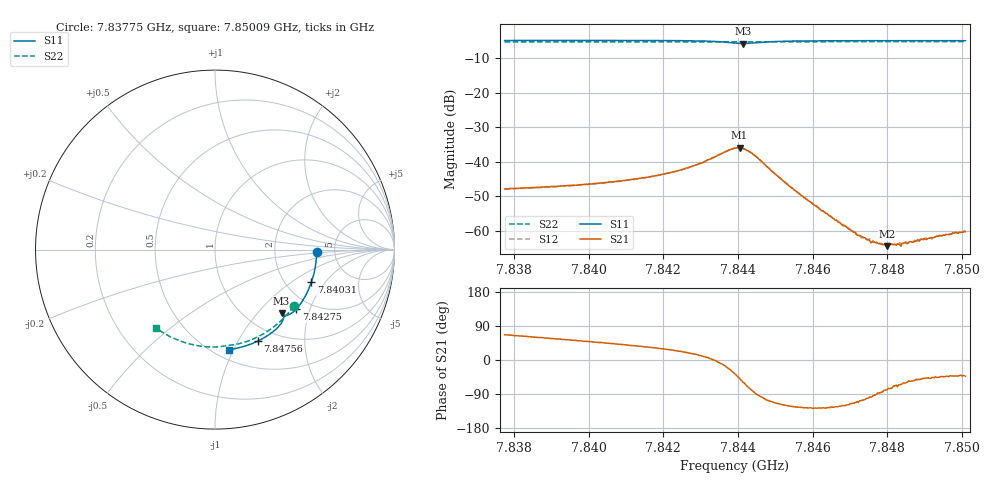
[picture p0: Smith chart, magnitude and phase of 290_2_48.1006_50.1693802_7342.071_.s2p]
#  HZ  S  RI  R  50.00
! Rohde & Schwarz Vector Network Analyzer
! Rohde-Schwarz,ZNB20-2Port,1311601062101988,3.16
! Created: UTC 12/23/2023, 4:03:40 AM
! freq[Hz]  re:S11  im:S11  re:S21  im:S21  re:S12  im:S12  re:S22  im:S22
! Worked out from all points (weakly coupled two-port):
!   401 points, 7.83775 GHz to 7.85009 GHz, reference 50 ohm
!   highest |S21| = -35.98 dB at 7.84404 GHz (marker M1); lowest = -64.5 dB at 7.84799 GHz (marker M2)
!   lowest |S11| = -5.8 dB at 7.84414 GHz (marker M3), VSWR 3.10, Z = 70.9 - j67.9 ohm
!   |S11| at or under -10 dB: nowhere
!   |S22| runs from -5.4 to -5.3 dB; largest |S21 - S12| = 0.00029
!   S11 on the Smith chart (normalised r, x): 7.83775 GHz: 3.61, -0.15; 7.84031 GHz: 2.74, -1.47; 7.84275 GHz: 1.68, -1.62; 7.84756 GHz: 0.81, -1.21; 7.85009 GHz: 0.59, -0.96
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7.837749e9  0.5663 -0.0138  0.00158 0.00369  0.00159 0.00362  0.4392 -0.314
7.839816e9  0.5467 -0.1502  0.00297 0.00355  0.00294 0.00351  0.3405 -0.4197
7.840309e9  0.5369 -0.1818  0.0034 0.00353  0.00334 0.0035  0.3132 -0.4408
7.841204e9  0.5137 -0.2385  0.0044 0.00343  0.00432 0.0034  0.2604 -0.4745
7.841883e9  0.4911 -0.2801  0.00549 0.00325  0.00541 0.00324  0.2174 -0.4958
7.842747e9  0.4532 -0.3309  0.00805 0.00255  0.00801 0.00258  0.1606 -0.5171
7.843487e9  0.4045 -0.3654  0.0124 -0.00146  0.0123 -0.00128  0.1099 -0.5292
7.843919e9  0.3729 -0.3617  0.0126 -0.00943  0.0125 -0.00934  0.081 -0.5329
7.844042e9  0.3702 -0.3561  0.0105 -0.0119  0.0103 -0.012  0.0731 -0.5337
7.844135e9  0.371 -0.353  0.00806 -0.0131  0.0082 -0.0132  0.0676 -0.5345
7.844444e9  0.3816 -0.3582  0.000853 -0.0123  0.00107 -0.0123  0.0479 -0.5381
7.845184e9  0.3697 -0.4095  -0.00253 -0.00477  -0.00254 -0.00478  -0.00397 -0.5427
7.845986e9  0.3295 -0.4524  -0.00148 -0.00196  -0.0015 -0.00202  -0.0607 -0.5403
7.846757e9  0.2857 -0.4838  -0.000661 -0.00106  -0.000683 -0.00107  -0.1143 -0.5322
7.847251e9  0.2563 -0.5007  -0.000256 -0.000813  -0.000265 -0.000801  -0.1481 -0.524
7.84756e9  0.2377 -0.5101  -9.79e-05 -0.000657  -0.000138 -0.000714  -0.1688 -0.5178
7.847714e9  0.2282 -0.5144  6.86e-06 -0.000679  -1.42e-05 -0.000648  -0.1791 -0.5144
7.847991e9  0.2109 -0.5219  0.000116 -0.000584  0.000126 -0.000601  -0.1974 -0.5079
7.848053e9  0.2071 -0.5234  0.000163 -0.000633  0.000152 -0.000596  -0.2015 -0.5064
7.848362e9  0.1876 -0.5308  0.000254 -0.00054  0.000274 -0.000592  -0.2213 -0.4981
7.848948e9  0.1502 -0.5424  0.000485 -0.000561  0.000478 -0.000546  -0.2587 -0.4803
7.850089e9  0.0756 -0.5573  0.00071 -0.000655  0.000742 -0.000662  -0.3264 -0.4379
